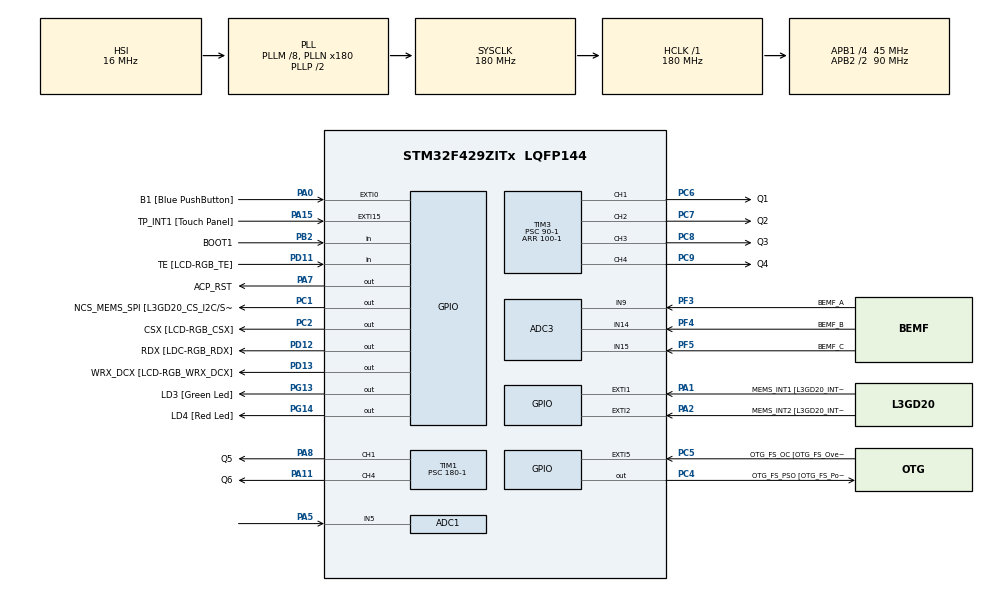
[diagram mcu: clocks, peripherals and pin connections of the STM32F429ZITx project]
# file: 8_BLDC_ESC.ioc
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ADC1.Channel-0\#ChannelRegularConversion=ADC_CHANNEL_5
ADC1.ContinuousConvMode=ENABLE
ADC1.DMAContinuousRequests=ENABLE
ADC1.EOCSelection=ADC_EOC_SEQ_CONV
ADC1.NbrOfConversionFlag=1
ADC1.Rank-0\#ChannelRegularConversion=1
ADC1.SamplingTime-0\#ChannelRegularConversion=ADC_SAMPLETIME_480CYCLES
ADC1.ScanConvMode=DISABLE
ADC1.master=1
ADC3.Channel-0\#ChannelRegularConversion=ADC_CHANNEL_9
ADC3.Channel-1\#ChannelRegularConversion=ADC_CHANNEL_14
ADC3.Channel-2\#ChannelRegularConversion=ADC_CHANNEL_15
ADC3.ContinuousConvMode=ENABLE
ADC3.DMAContinuousRequests=ENABLE
ADC3.EOCSelection=ADC_EOC_SEQ_CONV
ADC3.NbrOfConversion=3
ADC3.NbrOfConversionFlag=1
ADC3.Rank-0\#ChannelRegularConversion=1
ADC3.Rank-1\#ChannelRegularConversion=2
ADC3.Rank-2\#ChannelRegularConversion=3
ADC3.SamplingTime-0\#ChannelRegularConversion=ADC_SAMPLETIME_480CYCLES
ADC3.SamplingTime-1\#ChannelRegularConversion=ADC_SAMPLETIME_480CYCLES
ADC3.SamplingTime-2\#ChannelRegularConversion=ADC_SAMPLETIME_480CYCLES
ADC3.ScanConvMode=ENABLE
Dma.ADC1.0.Direction=DMA_PERIPH_TO_MEMORY
Dma.ADC1.0.FIFOMode=DMA_FIFOMODE_DISABLE
Dma.ADC1.0.Instance=DMA2_Stream0
Dma.ADC1.0.MemDataAlignment=DMA_MDATAALIGN_WORD
Dma.ADC1.0.MemInc=DMA_MINC_ENABLE
Dma.ADC1.0.Mode=DMA_CIRCULAR
Dma.ADC1.0.PeriphDataAlignment=DMA_PDATAALIGN_WORD
Dma.ADC1.0.PeriphInc=DMA_PINC_DISABLE
Dma.ADC1.0.Priority=DMA_PRIORITY_LOW
Dma.ADC3.1.Direction=DMA_PERIPH_TO_MEMORY
Dma.ADC3.1.FIFOMode=DMA_FIFOMODE_DISABLE
Dma.ADC3.1.Instance=DMA2_Stream1
Dma.ADC3.1.MemDataAlignment=DMA_MDATAALIGN_WORD
Dma.ADC3.1.MemInc=DMA_MINC_ENABLE
Dma.ADC3.1.Mode=DMA_CIRCULAR
Dma.ADC3.1.PeriphDataAlignment=DMA_PDATAALIGN_WORD
Dma.ADC3.1.PeriphInc=DMA_PINC_DISABLE
Dma.ADC3.1.Priority=DMA_PRIORITY_LOW
Dma.Request0=ADC1
Dma.Request1=ADC3
Mcu.Family=STM32F4
Mcu.Name=STM32F429ZITx
Mcu.Package=LQFP144
NVIC.ADC_IRQn=true\:0\:0\:false\:false\:true\:true\:true
NVIC.DMA2_Stream0_IRQn=true\:0\:0\:false\:false\:true\:false\:true
NVIC.DMA2_Stream1_IRQn=true\:0\:0\:false\:false\:true\:false\:true
NVIC.PriorityGroup=NVIC_PRIORITYGROUP_0
NVIC.TIM2_IRQn=true\:0\:0\:false\:false\:true\:true\:true
PA0/WKUP.GPIO_Label=B1 [Blue PushButton]
PA0/WKUP.GPIO_ModeDefaultEXTI=GPIO_MODE_EVT_RISING
PA0/WKUP.GPIO_PuPd=GPIO_NOPULL
PA0/WKUP.Signal=GPXTI0
PA1.GPIO_Label=MEMS_INT1 [L3GD20_INT1]
PA1.GPIO_ModeDefaultEXTI=GPIO_MODE_EVT_RISING
PA1.GPIO_PuPd=GPIO_NOPULL
PA1.Signal=GPXTI1
PA10.GPIO_Label=STLINK_TX [STM32F103CBT6_PA2]
PA10.Signal=USART1_RX
PA11.GPIO_Label=Q6
PA11.GPIO_Speed=GPIO_SPEED_FREQ_HIGH
PA11.Signal=S_TIM1_CH4
PA12.GPIO_Label=R5
PA12.GPIO_Mode=GPIO_MODE_AF_PP
PA12.GPIO_PuPd=GPIO_NOPULL
PA12.GPIO_Speed=GPIO_SPEED_FREQ_LOW
PA12.Signal=LTDC_R5
PA13.GPIO_Label=SWDIO
PA13.Signal=SYS_JTMS-SWDIO
PA14.GPIO_Label=SWCLK
PA14.Signal=SYS_JTCK-SWCLK
PA15.GPIO_Label=TP_INT1 [Touch Panel]
PA15.GPIO_ModeDefaultEXTI=GPIO_MODE_EVT_RISING
PA15.GPIO_PuPd=GPIO_NOPULL
PA15.Signal=GPXTI15
PA2.GPIO_Label=MEMS_INT2 [L3GD20_INT2]
PA2.GPIO_ModeDefaultEXTI=GPIO_MODE_EVT_RISING
PA2.GPIO_PuPd=GPIO_NOPULL
PA2.Signal=GPXTI2
PA3.GPIO_Label=B5
PA3.GPIO_Mode=GPIO_MODE_AF_PP
PA3.GPIO_PuPd=GPIO_NOPULL
PA3.GPIO_Speed=GPIO_SPEED_FREQ_LOW
PA3.Signal=LTDC_B5
PA4.GPIO_Label=VSYNC
PA4.GPIO_Mode=GPIO_MODE_AF_PP
PA4.GPIO_PuPd=GPIO_NOPULL
PA4.GPIO_Speed=GPIO_SPEED_FREQ_LOW
PA4.Signal=LTDC_VSYNC
PA5.Signal=ADCx_IN5
PA6.GPIO_Label=G2
PA6.GPIO_Mode=GPIO_MODE_AF_PP
PA6.GPIO_PuPd=GPIO_NOPULL
PA6.GPIO_Speed=GPIO_SPEED_FREQ_LOW
PA6.Signal=LTDC_G2
PA7.GPIO_Label=ACP_RST
PA7.GPIO_Mode=GPIO_MODE_OUTPUT_PP
PA7.GPIO_PuPd=GPIO_NOPULL
PA7.GPIO_Speed=GPIO_SPEED_FREQ_LOW
PA7.Signal=GPIO_Output
PA8.GPIO_Label=Q5
PA8.GPIO_Speed=GPIO_SPEED_FREQ_HIGH
PA8.Signal=S_TIM1_CH1
PA9.GPIO_Label=STLINK_RX [STM32F103CBT6_PA3]
PA9.Signal=USART1_TX
PB0.GPIO_Label=R3
PB0.GPIO_Mode=GPIO_MODE_AF_PP
PB0.GPIO_PuPd=GPIO_NOPULL
PB0.GPIO_Speed=GPIO_SPEED_FREQ_LOW
PB0.Signal=LTDC_R3
PB1.GPIO_Label=R6
PB1.GPIO_Mode=GPIO_MODE_AF_PP
PB1.GPIO_PuPd=GPIO_NOPULL
PB1.GPIO_Speed=GPIO_SPEED_FREQ_LOW
PB1.Signal=LTDC_R6
PB10.GPIO_Label=G4
PB10.GPIO_Mode=GPIO_MODE_AF_PP
PB10.GPIO_PuPd=GPIO_NOPULL
PB10.GPIO_Speed=GPIO_SPEED_FREQ_LOW
PB10.Signal=LTDC_G4
PB11.GPIO_Label=G5
PB11.GPIO_Mode=GPIO_MODE_AF_PP
PB11.GPIO_PuPd=GPIO_NOPULL
PB11.GPIO_Speed=GPIO_SPEED_FREQ_LOW
PB11.Signal=LTDC_G5
PB12.GPIO_Label=OTG_HS_ID
PB12.GPIO_Mode=GPIO_MODE_AF_PP
PB12.GPIO_PuPd=GPIO_NOPULL
PB12.GPIO_Speed=GPIO_SPEED_FREQ_LOW
PB12.Signal=USB_OTG_HS_ID
PB14.GPIO_Label=OTG_HS_DM
PB14.GPIO_Mode=GPIO_MODE_AF_PP
PB14.GPIO_PuPd=GPIO_NOPULL
PB14.GPIO_Speed=GPIO_SPEED_FREQ_LOW
PB14.Signal=USB_OTG_HS_DM
PB15.GPIO_Label=OTG_HS_DP
PB15.GPIO_Mode=GPIO_MODE_AF_PP
PB15.GPIO_PuPd=GPIO_NOPULL
PB15.GPIO_Speed=GPIO_SPEED_FREQ_LOW
PB15.Signal=USB_OTG_HS_DP
PB2/BOOT1.GPIO_Label=BOOT1
PB2/BOOT1.GPIO_Mode=GPIO_MODE_INPUT
PB2/BOOT1.GPIO_PuPd=GPIO_NOPULL
PB2/BOOT1.Signal=GPIO_Input
PB5.GPIO_Label=SDCKE1
PB5.GPIO_Mode=GPIO_MODE_AF_PP
PB5.GPIO_PuPd=GPIO_NOPULL
PB5.GPIO_Speed=GPIO_SPEED_FREQ_VERY_HIGH
PB5.Signal=FMC_SDCKE1
PB6.GPIO_Label=SDNE1 [SDRAM_CS]
PB6.GPIO_Mode=GPIO_MODE_AF_PP
PB6.GPIO_PuPd=GPIO_NOPULL
PB6.GPIO_Speed=GPIO_SPEED_FREQ_VERY_HIGH
PB6.Signal=FMC_SDNE1
PB8.GPIO_Label=B6
PB8.GPIO_Mode=GPIO_MODE_AF_PP
PB8.GPIO_PuPd=GPIO_NOPULL
PB8.GPIO_Speed=GPIO_SPEED_FREQ_LOW
PB8.Signal=LTDC_B6
PB9.GPIO_Label=B7
PB9.GPIO_Mode=GPIO_MODE_AF_PP
PB9.GPIO_PuPd=GPIO_NOPULL
PB9.GPIO_Speed=GPIO_SPEED_FREQ_LOW
PB9.Signal=LTDC_B7
PC0.GPIO_Label=SDNWE
PC0.GPIO_Mode=GPIO_MODE_AF_PP
PC0.GPIO_PuPd=GPIO_NOPULL
PC0.GPIO_Speed=GPIO_SPEED_FREQ_VERY_HIGH
PC0.Signal=FMC_SDNWE
PC1.GPIO_Label=NCS_MEMS_SPI [L3GD20_CS_I2C/SPI]
PC1.GPIO_Mode=GPIO_MODE_OUTPUT_PP
PC1.GPIO_PuPd=GPIO_NOPULL
PC1.GPIO_Speed=GPIO_SPEED_FREQ_LOW
PC1.Signal=GPIO_Output
PC10.GPIO_Label=R2
PC10.GPIO_Mode=GPIO_MODE_AF_PP
PC10.GPIO_PuPd=GPIO_NOPULL
PC10.GPIO_Speed=GPIO_SPEED_FREQ_LOW
PC10.Signal=LTDC_R2
PC14/OSC32_IN.GPIO_Label=PC14-OSC32_IN
PC14/OSC32_IN.Signal=RCC_OSC32_IN
PC15/OSC32_OUT.GPIO_Label=PC15-OSC32_OUT
PC15/OSC32_OUT.Signal=RCC_OSC32_OUT
PC2.GPIO_Label=CSX [LCD-RGB_CSX]
PC2.GPIO_Mode=GPIO_MODE_OUTPUT_PP
PC2.GPIO_PuPd=GPIO_NOPULL
PC2.GPIO_Speed=GPIO_SPEED_FREQ_LOW
PC2.Signal=GPIO_Output
PC4.GPIO_Label=OTG_FS_PSO [OTG_FS_PowerSwitchOn]
PC4.GPIO_Mode=GPIO_MODE_OUTPUT_PP
PC4.GPIO_PuPd=GPIO_NOPULL
PC4.GPIO_Speed=GPIO_SPEED_FREQ_LOW
PC4.Signal=GPIO_Output
PC5.GPIO_Label=OTG_FS_OC [OTG_FS_OverCurrent]
PC5.GPIO_ModeDefaultEXTI=GPIO_MODE_EVT_RISING
PC5.Signal=GPXTI5
PC6.GPIO_Label=Q1
PC6.GPIO_Speed=GPIO_SPEED_FREQ_HIGH
PC6.Signal=S_TIM3_CH1
PC7.GPIO_Label=Q2
PC7.GPIO_Speed=GPIO_SPEED_FREQ_HIGH
PC7.Signal=S_TIM3_CH2
PC8.GPIO_Label=Q3
PC8.GPIO_Speed=GPIO_SPEED_FREQ_HIGH
PC8.Signal=S_TIM3_CH3
PC9.GPIO_Label=Q4
PC9.GPIO_Speed=GPIO_SPEED_FREQ_HIGH
PC9.Signal=S_TIM3_CH4
PD0.GPIO_Label=D2
PD0.GPIO_Mode=GPIO_MODE_AF_PP
PD0.GPIO_PuPd=GPIO_NOPULL
PD0.GPIO_Speed=GPIO_SPEED_FREQ_VERY_HIGH
PD0.Signal=FMC_D2_DA2
PD1.GPIO_Label=D3
PD1.GPIO_Mode=GPIO_MODE_AF_PP
PD1.GPIO_PuPd=GPIO_NOPULL
PD1.GPIO_Speed=GPIO_SPEED_FREQ_VERY_HIGH
PD1.Signal=FMC_D3_DA3
PD10.GPIO_Label=D15
PD10.GPIO_Mode=GPIO_MODE_AF_PP
PD10.GPIO_PuPd=GPIO_NOPULL
PD10.GPIO_Speed=GPIO_SPEED_FREQ_VERY_HIGH
PD10.Signal=FMC_D15_DA15
PD11.GPIO_Label=TE [LCD-RGB_TE]
PD11.GPIO_Mode=GPIO_MODE_INPUT
PD11.GPIO_PuPd=GPIO_NOPULL
PD11.Signal=GPIO_Input
PD12.GPIO_Label=RDX [LDC-RGB_RDX]
PD12.GPIO_Mode=GPIO_MODE_OUTPUT_PP
PD12.GPIO_PuPd=GPIO_NOPULL
PD12.GPIO_Speed=GPIO_SPEED_FREQ_LOW
PD12.Signal=GPIO_Output
PD13.GPIO_Label=WRX_DCX [LCD-RGB_WRX_DCX]
PD13.GPIO_Mode=GPIO_MODE_OUTPUT_PP
PD13.GPIO_PuPd=GPIO_NOPULL
PD13.GPIO_Speed=GPIO_SPEED_FREQ_LOW
PD13.Signal=GPIO_Output
PD14.GPIO_Label=D0
PD14.GPIO_Mode=GPIO_MODE_AF_PP
PD14.GPIO_PuPd=GPIO_NOPULL
PD14.GPIO_Speed=GPIO_SPEED_FREQ_VERY_HIGH
PD14.Signal=FMC_D0_DA0
PD15.GPIO_Label=D1
PD15.GPIO_Mode=GPIO_MODE_AF_PP
PD15.GPIO_PuPd=GPIO_NOPULL
PD15.GPIO_Speed=GPIO_SPEED_FREQ_VERY_HIGH
PD15.Signal=FMC_D1_DA1
PD3.GPIO_Label=G7
PD3.GPIO_Mode=GPIO_MODE_AF_PP
PD3.GPIO_PuPd=GPIO_NOPULL
PD3.GPIO_Speed=GPIO_SPEED_FREQ_LOW
PD3.Signal=LTDC_G7
PD6.GPIO_Label=B2
PD6.GPIO_Mode=GPIO_MODE_AF_PP
PD6.GPIO_PuPd=GPIO_NOPULL
PD6.GPIO_Speed=GPIO_SPEED_FREQ_LOW
PD6.Signal=LTDC_B2
PD8.GPIO_Label=D13
PD8.GPIO_Mode=GPIO_MODE_AF_PP
PD8.GPIO_PuPd=GPIO_NOPULL
PD8.GPIO_Speed=GPIO_SPEED_FREQ_VERY_HIGH
PD8.Signal=FMC_D13_DA13
PD9.GPIO_Label=D14
PD9.GPIO_Mode=GPIO_MODE_AF_PP
PD9.GPIO_PuPd=GPIO_NOPULL
PD9.GPIO_Speed=GPIO_SPEED_FREQ_VERY_HIGH
PD9.Signal=FMC_D14_DA14
PE0.GPIO_Label=NBL0 [SDRAM_LDQM]
PE0.GPIO_Mode=GPIO_MODE_AF_PP
PE0.GPIO_PuPd=GPIO_NOPULL
PE0.GPIO_Speed=GPIO_SPEED_FREQ_VERY_HIGH
PE0.Signal=FMC_NBL0
PE1.GPIO_Label=NBL1 [SDRAM_UDQM]
PE1.GPIO_Mode=GPIO_MODE_AF_PP
PE1.GPIO_PuPd=GPIO_NOPULL
PE1.GPIO_Speed=GPIO_SPEED_FREQ_VERY_HIGH
PE1.Signal=FMC_NBL1
PE10.GPIO_Label=D7
PE10.GPIO_Mode=GPIO_MODE_AF_PP
PE10.GPIO_PuPd=GPIO_NOPULL
PE10.GPIO_Speed=GPIO_SPEED_FREQ_VERY_HIGH
PE10.Signal=FMC_D7_DA7
PE11.GPIO_Label=D8
PE11.GPIO_Mode=GPIO_MODE_AF_PP
PE11.GPIO_PuPd=GPIO_NOPULL
PE11.GPIO_Speed=GPIO_SPEED_FREQ_VERY_HIGH
PE11.Signal=FMC_D8_DA8
PE12.GPIO_Label=D9
PE12.GPIO_Mode=GPIO_MODE_AF_PP
PE12.GPIO_PuPd=GPIO_NOPULL
PE12.GPIO_Speed=GPIO_SPEED_FREQ_VERY_HIGH
PE12.Signal=FMC_D9_DA9
PE13.GPIO_Label=D10
PE13.GPIO_Mode=GPIO_MODE_AF_PP
PE13.GPIO_PuPd=GPIO_NOPULL
PE13.GPIO_Speed=GPIO_SPEED_FREQ_VERY_HIGH
PE13.Signal=FMC_D10_DA10
PE14.GPIO_Label=D11
PE14.GPIO_Mode=GPIO_MODE_AF_PP
PE14.GPIO_PuPd=GPIO_NOPULL
PE14.GPIO_Speed=GPIO_SPEED_FREQ_VERY_HIGH
PE14.Signal=FMC_D11_DA11
PE15.GPIO_Label=D12
PE15.GPIO_Mode=GPIO_MODE_AF_PP
PE15.GPIO_PuPd=GPIO_NOPULL
PE15.GPIO_Speed=GPIO_SPEED_FREQ_VERY_HIGH
PE15.Signal=FMC_D12_DA12
PE7.GPIO_Label=D4
PE7.GPIO_Mode=GPIO_MODE_AF_PP
PE7.GPIO_PuPd=GPIO_NOPULL
PE7.GPIO_Speed=GPIO_SPEED_FREQ_VERY_HIGH
PE7.Signal=FMC_D4_DA4
PE9.GPIO_Label=D6
PE9.GPIO_Mode=GPIO_MODE_AF_PP
PE9.GPIO_PuPd=GPIO_NOPULL
PE9.GPIO_Speed=GPIO_SPEED_FREQ_VERY_HIGH
PE9.Signal=FMC_D6_DA6
PF0.GPIO_Label=A0
PF0.GPIO_Mode=GPIO_MODE_AF_PP
PF0.GPIO_PuPd=GPIO_NOPULL
PF0.GPIO_Speed=GPIO_SPEED_FREQ_VERY_HIGH
PF0.Signal=FMC_A0
PF1.GPIO_Label=A1
PF1.GPIO_Mode=GPIO_MODE_AF_PP
PF1.GPIO_PuPd=GPIO_NOPULL
PF1.GPIO_Speed=GPIO_SPEED_FREQ_VERY_HIGH
PF1.Signal=FMC_A1
PF10.GPIO_Label=ENABLE [LCD-RGB_ENABLE]
PF10.GPIO_Mode=GPIO_MODE_AF_PP
PF10.GPIO_PuPd=GPIO_NOPULL
PF10.GPIO_Speed=GPIO_SPEED_FREQ_LOW
PF10.Signal=LTDC_DE
PF11.GPIO_Label=SDNRAS
PF11.GPIO_Mode=GPIO_MODE_AF_PP
PF11.GPIO_PuPd=GPIO_NOPULL
PF11.GPIO_Speed=GPIO_SPEED_FREQ_VERY_HIGH
PF11.Signal=FMC_SDNRAS
PF12.GPIO_Label=A6
PF12.GPIO_Mode=GPIO_MODE_AF_PP
PF12.GPIO_PuPd=GPIO_NOPULL
PF12.GPIO_Speed=GPIO_SPEED_FREQ_VERY_HIGH
PF12.Signal=FMC_A6
PF13.GPIO_Label=A7
PF13.GPIO_Mode=GPIO_MODE_AF_PP
PF13.GPIO_PuPd=GPIO_NOPULL
PF13.GPIO_Speed=GPIO_SPEED_FREQ_VERY_HIGH
PF13.Signal=FMC_A7
PF14.GPIO_Label=A8
PF14.GPIO_Mode=GPIO_MODE_AF_PP
PF14.GPIO_PuPd=GPIO_NOPULL
PF14.GPIO_Speed=GPIO_SPEED_FREQ_VERY_HIGH
PF14.Signal=FMC_A8
PF15.GPIO_Label=A9
PF15.GPIO_Mode=GPIO_MODE_AF_PP
PF15.GPIO_PuPd=GPIO_NOPULL
PF15.GPIO_Speed=GPIO_SPEED_FREQ_VERY_HIGH
PF15.Signal=FMC_A9
PF2.GPIO_Label=A2
PF2.GPIO_Mode=GPIO_MODE_AF_PP
PF2.GPIO_PuPd=GPIO_NOPULL
PF2.GPIO_Speed=GPIO_SPEED_FREQ_VERY_HIGH
PF2.Signal=FMC_A2
PF3.GPIO_Label=BEMF_A
PF3.Mode=IN9
PF3.Signal=ADC3_IN9
PF4.GPIO_Label=BEMF_B
PF4.Mode=IN14
PF4.Signal=ADC3_IN14
PF5.GPIO_Label=BEMF_C
PF5.Mode=IN15
PF5.Signal=ADC3_IN15
PF7.GPIO_Label=SPI5_SCK [L3GD20_SCL/SPC]
PF7.GPIO_Mode=GPIO_MODE_AF_PP
PF7.GPIO_PuPd=GPIO_NOPULL
PF7.GPIO_Speed=GPIO_SPEED_FREQ_LOW
PF7.Signal=SPI5_SCK
PF8.GPIO_Label=SPI5_MISO [L3GD20_SDO]
PF8.GPIO_Mode=GPIO_MODE_AF_PP
PF8.GPIO_PuPd=GPIO_NOPULL
PF8.GPIO_Speed=GPIO_SPEED_FREQ_LOW
PF8.Signal=SPI5_MISO
PF9.GPIO_Label=SPI5_MOSI [L3GD20_SDA/SDI/SDO]
PF9.GPIO_Mode=GPIO_MODE_AF_PP
PF9.GPIO_PuPd=GPIO_NOPULL
PF9.GPIO_Speed=GPIO_SPEED_FREQ_LOW
PF9.Signal=SPI5_MOSI
PG0.GPIO_Label=A10
PG0.GPIO_Mode=GPIO_MODE_AF_PP
PG0.GPIO_PuPd=GPIO_NOPULL
PG0.GPIO_Speed=GPIO_SPEED_FREQ_VERY_HIGH
PG0.Signal=FMC_A10
PG1.GPIO_Label=A11
PG1.GPIO_Mode=GPIO_MODE_AF_PP
PG1.GPIO_PuPd=GPIO_NOPULL
PG1.GPIO_Speed=GPIO_SPEED_FREQ_VERY_HIGH
PG1.Signal=FMC_A11
PG10.GPIO_Label=G3
PG10.GPIO_Mode=GPIO_MODE_AF_PP
PG10.GPIO_PuPd=GPIO_NOPULL
PG10.GPIO_Speed=GPIO_SPEED_FREQ_LOW
PG10.Signal=LTDC_G3
PG11.GPIO_Label=B3
PG11.GPIO_Mode=GPIO_MODE_AF_PP
PG11.GPIO_PuPd=GPIO_NOPULL
PG11.GPIO_Speed=GPIO_SPEED_FREQ_LOW
PG11.Signal=LTDC_B3
PG12.GPIO_Label=B4
PG12.GPIO_Mode=GPIO_MODE_AF_PP
PG12.GPIO_PuPd=GPIO_NOPULL
PG12.GPIO_Speed=GPIO_SPEED_FREQ_LOW
PG12.Signal=LTDC_B4
PG13.GPIO_Label=LD3 [Green Led]
PG13.GPIO_Mode=GPIO_MODE_OUTPUT_PP
PG13.GPIO_PuPd=GPIO_NOPULL
PG13.GPIO_Speed=GPIO_SPEED_FREQ_LOW
PG13.Signal=GPIO_Output
PG14.GPIO_Label=LD4 [Red Led]
PG14.GPIO_Mode=GPIO_MODE_OUTPUT_PP
PG14.GPIO_PuPd=GPIO_NOPULL
PG14.GPIO_Speed=GPIO_SPEED_FREQ_LOW
PG14.Signal=GPIO_Output
PG15.GPIO_Label=SDNCAS
PG15.GPIO_Mode=GPIO_MODE_AF_PP
PG15.GPIO_PuPd=GPIO_NOPULL
PG15.GPIO_Speed=GPIO_SPEED_FREQ_VERY_HIGH
PG15.Signal=FMC_SDNCAS
PG4.GPIO_Label=BA0
PG4.GPIO_Mode=GPIO_MODE_AF_PP
PG4.GPIO_PuPd=GPIO_NOPULL
PG4.GPIO_Speed=GPIO_SPEED_FREQ_VERY_HIGH
PG4.Signal=FMC_A14_BA0
PG5.GPIO_Label=BA1
PG5.GPIO_Mode=GPIO_MODE_AF_PP
PG5.GPIO_PuPd=GPIO_NOPULL
PG5.GPIO_Speed=GPIO_SPEED_FREQ_VERY_HIGH
PG5.Signal=FMC_A15_BA1
PG6.GPIO_Label=R7
PG6.GPIO_Mode=GPIO_MODE_AF_PP
PG6.GPIO_PuPd=GPIO_NOPULL
PG6.GPIO_Speed=GPIO_SPEED_FREQ_LOW
PG6.Signal=LTDC_R7
PG7.GPIO_Label=DOTCLK [LCT-RGB_DOTCLK]
PG7.GPIO_Mode=GPIO_MODE_AF_PP
PG7.GPIO_PuPd=GPIO_NOPULL
PG7.GPIO_Speed=GPIO_SPEED_FREQ_LOW
PG7.Signal=LTDC_CLK
PG8.GPIO_Label=SDCLK
PG8.GPIO_Mode=GPIO_MODE_AF_PP
PG8.GPIO_PuPd=GPIO_NOPULL
PG8.GPIO_Speed=GPIO_SPEED_FREQ_VERY_HIGH
PG8.Signal=FMC_SDCLK
PH0/OSC_IN.GPIO_Label=PH0-OSC_IN
PH0/OSC_IN.Signal=RCC_OSC_IN
PH1/OSC_OUT.GPIO_Label=PH1-OSC_OUT
PH1/OSC_OUT.Signal=RCC_OSC_OUT
ProjectManager.HeapSize=0x200
ProjectManager.StackSize=0x400
ProjectManager.TargetToolchain=STM32CubeIDE
RCC.48MHZClocksFreq_Value=51428571.428571425
RCC.AHBFreq_Value=180000000
RCC.APB1CLKDivider=RCC_HCLK_DIV4
RCC.APB1Freq_Value=45000000
RCC.APB1TimFreq_Value=90000000
RCC.APB2CLKDivider=RCC_HCLK_DIV2
RCC.APB2Freq_Value=90000000
RCC.APB2TimFreq_Value=180000000
RCC.CortexFreq_Value=180000000
RCC.HCLKFreq_Value=180000000
RCC.HSE_VALUE=8000000
RCC.HSI_VALUE=16000000
RCC.LSE_VALUE=32768
RCC.PLLM=8
RCC.PLLN=180
RCC.PLLQ=7
RCC.SYSCLKFreq_VALUE=180000000
RCC.SYSCLKSource=RCC_SYSCLKSOURCE_PLLCLK
RCC.VCOOutputFreq_Value=360000000
SH.ADCx_IN5.0=ADC1_IN5,IN5
SH.FMC_A0.0=FMC_A0
SH.FMC_A1.0=FMC_A1
SH.FMC_A10.0=FMC_A10
SH.FMC_A11.0=FMC_A11
SH.FMC_A14_BA0.0=FMC_BA0
SH.FMC_A15_BA1.0=FMC_BA1
SH.FMC_A2.0=FMC_A2
SH.FMC_A6.0=FMC_A6
SH.FMC_A7.0=FMC_A7
SH.FMC_A8.0=FMC_A8
SH.FMC_A9.0=FMC_A9
SH.FMC_D0_DA0.0=FMC_D0
SH.FMC_D10_DA10.0=FMC_D10
SH.FMC_D11_DA11.0=FMC_D11
SH.FMC_D12_DA12.0=FMC_D12
SH.FMC_D13_DA13.0=FMC_D13
SH.FMC_D14_DA14.0=FMC_D14
SH.FMC_D15_DA15.0=FMC_D15
SH.FMC_D1_DA1.0=FMC_D1
SH.FMC_D2_DA2.0=FMC_D2
SH.FMC_D3_DA3.0=FMC_D3
SH.FMC_D4_DA4.0=FMC_D4
SH.FMC_D6_DA6.0=FMC_D6
SH.FMC_D7_DA7.0=FMC_D7
SH.FMC_D8_DA8.0=FMC_D8
SH.FMC_D9_DA9.0=FMC_D9
SH.FMC_NBL0.0=FMC_NBL0
SH.FMC_NBL1.0=FMC_NBL1
SH.FMC_SDCLK.0=FMC_SDCLK
SH.FMC_SDNCAS.0=FMC_SDNCAS
SH.FMC_SDNRAS.0=FMC_SDNRAS
SH.FMC_SDNWE.0=FMC_SDNWE
SH.S_TIM1_CH1.0=TIM1_CH1,PWM Generation1 CH1
SH.S_TIM1_CH4.0=TIM1_CH4,PWM Generation4 CH4
SH.S_TIM3_CH1.0=TIM3_CH1,PWM Generation1 CH1
SH.S_TIM3_CH2.0=TIM3_CH2,PWM Generation2 CH2
SH.S_TIM3_CH3.0=TIM3_CH3,PWM Generation3 CH3
SH.S_TIM3_CH4.0=TIM3_CH4,PWM Generation4 CH4
TIM1.Channel-PWM\ Generation1\ CH1=TIM_CHANNEL_1
TIM1.Channel-PWM\ Generation4\ CH4=TIM_CHANNEL_4
TIM1.Period=100-1
TIM1.Prescaler=180-1
TIM2.Period=100-1
TIM2.Prescaler=90-1
TIM3.Channel-PWM\ Generation1\ CH1=TIM_CHANNEL_1
TIM3.Channel-PWM\ Generation2\ CH2=TIM_CHANNEL_2
TIM3.Channel-PWM\ Generation3\ CH3=TIM_CHANNEL_3
TIM3.Channel-PWM\ Generation4\ CH4=TIM_CHANNEL_4
TIM3.Period=100-1
TIM3.Prescaler=90-1
VP_TIM2_VS_ClockSourceINT.Mode=Internal
board=STM32F429I-DISC1

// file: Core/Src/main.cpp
/* USER CODE BEGIN Header */
/**
  ******************************************************************************
  * @file           : main.c
  * @brief          : Main program body
  ******************************************************************************
  * @attention
  *
  * <h2><center>&copy; Copyright (c) 2020 STMicroelectronics.
  * All rights reserved.</center></h2>
  *
  * This software component is licensed by ST under BSD 3-Clause license,
  * the "License"; You may not use this file except in compliance with the
  * License. You may obtain a copy of the License at:
  *                        opensource.org/licenses/BSD-3-Clause
  *
  ******************************************************************************
  */
/* USER CODE END Header */
#include "main.h"

/* USER CODE BEGIN Includes */
#include "user_app.hpp"
/* USER CODE END Includes */

/* USER CODE BEGIN PD */
#define ADC1_BUF_LEN 1
#define ADC3_BUF_LEN 3
/* USER CODE END PD */

ADC_HandleTypeDef hadc1;
ADC_HandleTypeDef hadc3;
DMA_HandleTypeDef hdma_adc1;
DMA_HandleTypeDef hdma_adc3;

TIM_HandleTypeDef htim1;
TIM_HandleTypeDef htim2;
TIM_HandleTypeDef htim3;

/* USER CODE BEGIN PV */
outputs outputs_obj;
uint32_t raw = 0;
uint32_t duty = 0;
uint32_t pot_pos_buf[ADC1_BUF_LEN];
uint32_t bemf_buf[ADC3_BUF_LEN];

/* USER CODE END PV */

void SystemClock_Config(void);
static void MX_GPIO_Init(void);
static void MX_DMA_Init(void);
static void MX_ADC1_Init(void);
static void MX_ADC3_Init(void);
static void MX_TIM2_Init(void);
static void MX_TIM1_Init(void);
static void MX_TIM3_Init(void);

int main(void)
{

  /* MCU Configuration--------------------------------------------------------*/

  /* Reset of all peripherals, Initializes the Flash interface and the Systick. */
  HAL_Init();

  /* Configure the system clock */
  SystemClock_Config();

  /* Initialize all configured peripherals */
  MX_GPIO_Init();
  MX_DMA_Init();
  MX_ADC1_Init();
  MX_ADC3_Init();
  MX_TIM2_Init();
  MX_TIM1_Init();
  MX_TIM3_Init();
  /* USER CODE BEGIN 2 */
  HAL_TIM_Base_Start_IT(&htim2);
  HAL_ADC_Start_DMA(&hadc1, pot_pos_buf, ADC1_BUF_LEN);
  HAL_ADC_Start_DMA(&hadc3, bemf_buf, ADC3_BUF_LEN);
  HAL_TIM_PWM_Start (&htim1, TIM_CHANNEL_1);
  HAL_TIM_PWM_Start (&htim1, TIM_CHANNEL_4);
  HAL_TIM_PWM_Start (&htim3, TIM_CHANNEL_1);
  HAL_TIM_PWM_Start (&htim3, TIM_CHANNEL_2);
  HAL_TIM_PWM_Start (&htim3, TIM_CHANNEL_3);
  HAL_TIM_PWM_Start (&htim3, TIM_CHANNEL_4);
  htim1.Instance->CCR1=0;
  htim1.Instance->CCR4=0;
  htim3.Instance->CCR1=0;
  htim3.Instance->CCR2=0;
  htim3.Instance->CCR3=0;
  htim3.Instance->CCR4=0;

  /* USER CODE END 2 */

  /* Infinite loop */
  while (1)
  {

  }
}

void SystemClock_Config(void)
{
  RCC_OscInitTypeDef RCC_OscInitStruct = {0};
  RCC_ClkInitTypeDef RCC_ClkInitStruct = {0};

  /** Configure the main internal regulator output voltage
  */
  __HAL_RCC_PWR_CLK_ENABLE();
  __HAL_PWR_VOLTAGESCALING_CONFIG(PWR_REGULATOR_VOLTAGE_SCALE1);
  /** Initializes the RCC Oscillators according to the specified parameters
  * in the RCC_OscInitTypeDef structure.
  */
  RCC_OscInitStruct.OscillatorType = RCC_OSCILLATORTYPE_HSI;
  RCC_OscInitStruct.HSIState = RCC_HSI_ON;
  RCC_OscInitStruct.HSICalibrationValue = RCC_HSICALIBRATION_DEFAULT;
  RCC_OscInitStruct.PLL.PLLState = RCC_PLL_ON;
  RCC_OscInitStruct.PLL.PLLSource = RCC_PLLSOURCE_HSI;
  RCC_OscInitStruct.PLL.PLLM = 8;
  RCC_OscInitStruct.PLL.PLLN = 180;
  RCC_OscInitStruct.PLL.PLLP = RCC_PLLP_DIV2;
  RCC_OscInitStruct.PLL.PLLQ = 7;
  if (HAL_RCC_OscConfig(&RCC_OscInitStruct) != HAL_OK)
  {
    Error_Handler();
  }
  /** Activate the Over-Drive mode
  */
  if (HAL_PWREx_EnableOverDrive() != HAL_OK)
  {
    Error_Handler();
  }
  /** Initializes the CPU, AHB and APB buses clocks
  */
  RCC_ClkInitStruct.ClockType = RCC_CLOCKTYPE_HCLK|RCC_CLOCKTYPE_SYSCLK
                              |RCC_CLOCKTYPE_PCLK1|RCC_CLOCKTYPE_PCLK2;
  RCC_ClkInitStruct.SYSCLKSource = RCC_SYSCLKSOURCE_PLLCLK;
  RCC_ClkInitStruct.AHBCLKDivider = RCC_SYSCLK_DIV1;
  RCC_ClkInitStruct.APB1CLKDivider = RCC_HCLK_DIV4;
  RCC_ClkInitStruct.APB2CLKDivider = RCC_HCLK_DIV2;

  if (HAL_RCC_ClockConfig(&RCC_ClkInitStruct, FLASH_LATENCY_5) != HAL_OK)
  {
    Error_Handler();
  }
}

static void MX_ADC1_Init(void)
{

  ADC_ChannelConfTypeDef sConfig = {0};

  /** Configure the global features of the ADC (Clock, Resolution, Data Alignment and number of conversion)
  */
  hadc1.Instance = ADC1;
  hadc1.Init.ClockPrescaler = ADC_CLOCK_SYNC_PCLK_DIV4;
  hadc1.Init.Resolution = ADC_RESOLUTION_12B;
  hadc1.Init.ScanConvMode = DISABLE;
  hadc1.Init.ContinuousConvMode = ENABLE;
  hadc1.Init.DiscontinuousConvMode = DISABLE;
  hadc1.Init.ExternalTrigConvEdge = ADC_EXTERNALTRIGCONVEDGE_NONE;
  hadc1.Init.ExternalTrigConv = ADC_SOFTWARE_START;
  hadc1.Init.DataAlign = ADC_DATAALIGN_RIGHT;
  hadc1.Init.NbrOfConversion = 1;
  hadc1.Init.DMAContinuousRequests = ENABLE;
  hadc1.Init.EOCSelection = ADC_EOC_SEQ_CONV;
  if (HAL_ADC_Init(&hadc1) != HAL_OK)
  {
    Error_Handler();
  }
  /** Configure for the selected ADC regular channel its corresponding rank in the sequencer and its sample time.
  */
  sConfig.Channel = ADC_CHANNEL_5;
  sConfig.Rank = 1;
  sConfig.SamplingTime = ADC_SAMPLETIME_480CYCLES;
  if (HAL_ADC_ConfigChannel(&hadc1, &sConfig) != HAL_OK)
  {
    Error_Handler();
  }

}

static void MX_ADC3_Init(void)
{

  ADC_ChannelConfTypeDef sConfig = {0};

  /** Configure the global features of the ADC (Clock, Resolution, Data Alignment and number of conversion)
  */
  hadc3.Instance = ADC3;
  hadc3.Init.ClockPrescaler = ADC_CLOCK_SYNC_PCLK_DIV4;
  hadc3.Init.Resolution = ADC_RESOLUTION_12B;
  hadc3.Init.ScanConvMode = ENABLE;
  hadc3.Init.ContinuousConvMode = ENABLE;
  hadc3.Init.DiscontinuousConvMode = DISABLE;
  hadc3.Init.ExternalTrigConvEdge = ADC_EXTERNALTRIGCONVEDGE_NONE;
  hadc3.Init.ExternalTrigConv = ADC_SOFTWARE_START;
  hadc3.Init.DataAlign = ADC_DATAALIGN_RIGHT;
  hadc3.Init.NbrOfConversion = 3;
  hadc3.Init.DMAContinuousRequests = ENABLE;
  hadc3.Init.EOCSelection = ADC_EOC_SEQ_CONV;
  if (HAL_ADC_Init(&hadc3) != HAL_OK)
  {
    Error_Handler();
  }
  /** Configure for the selected ADC regular channel its corresponding rank in the sequencer and its sample time.
  */
  sConfig.Channel = ADC_CHANNEL_9;
  sConfig.Rank = 1;
  sConfig.SamplingTime = ADC_SAMPLETIME_480CYCLES;
  if (HAL_ADC_ConfigChannel(&hadc3, &sConfig) != HAL_OK)
  {
    Error_Handler();
  }
  /** Configure for the selected ADC regular channel its corresponding rank in the sequencer and its sample time.
  */
  sConfig.Channel = ADC_CHANNEL_14;
  sConfig.Rank = 2;
  if (HAL_ADC_ConfigChannel(&hadc3, &sConfig) != HAL_OK)
  {
    Error_Handler();
  }
  /** Configure for the selected ADC regular channel its corresponding rank in the sequencer and its sample time.
  */
  sConfig.Channel = ADC_CHANNEL_15;
  sConfig.Rank = 3;
  if (HAL_ADC_ConfigChannel(&hadc3, &sConfig) != HAL_OK)
  {
    Error_Handler();
  }

}

static void MX_TIM1_Init(void)
{

  TIM_MasterConfigTypeDef sMasterConfig = {0};
  TIM_OC_InitTypeDef sConfigOC = {0};
  TIM_BreakDeadTimeConfigTypeDef sBreakDeadTimeConfig = {0};

  htim1.Instance = TIM1;
  htim1.Init.Prescaler = 180-1;
  htim1.Init.CounterMode = TIM_COUNTERMODE_UP;
  htim1.Init.Period = 100-1;
  htim1.Init.ClockDivision = TIM_CLOCKDIVISION_DIV1;
  htim1.Init.RepetitionCounter = 0;
  htim1.Init.AutoReloadPreload = TIM_AUTORELOAD_PRELOAD_DISABLE;
  if (HAL_TIM_PWM_Init(&htim1) != HAL_OK)
  {
    Error_Handler();
  }
  sMasterConfig.MasterOutputTrigger = TIM_TRGO_RESET;
  sMasterConfig.MasterSlaveMode = TIM_MASTERSLAVEMODE_DISABLE;
  if (HAL_TIMEx_MasterConfigSynchronization(&htim1, &sMasterConfig) != HAL_OK)
  {
    Error_Handler();
  }
  sConfigOC.OCMode = TIM_OCMODE_PWM1;
  sConfigOC.Pulse = 0;
  sConfigOC.OCPolarity = TIM_OCPOLARITY_HIGH;
  sConfigOC.OCNPolarity = TIM_OCNPOLARITY_HIGH;
  sConfigOC.OCFastMode = TIM_OCFAST_DISABLE;
  sConfigOC.OCIdleState = TIM_OCIDLESTATE_RESET;
  sConfigOC.OCNIdleState = TIM_OCNIDLESTATE_RESET;
  if (HAL_TIM_PWM_ConfigChannel(&htim1, &sConfigOC, TIM_CHANNEL_1) != HAL_OK)
  {
    Error_Handler();
  }
  if (HAL_TIM_PWM_ConfigChannel(&htim1, &sConfigOC, TIM_CHANNEL_4) != HAL_OK)
  {
    Error_Handler();
  }
  sBreakDeadTimeConfig.OffStateRunMode = TIM_OSSR_DISABLE;
  sBreakDeadTimeConfig.OffStateIDLEMode = TIM_OSSI_DISABLE;
  sBreakDeadTimeConfig.LockLevel = TIM_LOCKLEVEL_OFF;
  sBreakDeadTimeConfig.DeadTime = 0;
  sBreakDeadTimeConfig.BreakState = TIM_BREAK_DISABLE;
  sBreakDeadTimeConfig.BreakPolarity = TIM_BREAKPOLARITY_HIGH;
  sBreakDeadTimeConfig.AutomaticOutput = TIM_AUTOMATICOUTPUT_DISABLE;
  if (HAL_TIMEx_ConfigBreakDeadTime(&htim1, &sBreakDeadTimeConfig) != HAL_OK)
  {
    Error_Handler();
  }
  HAL_TIM_MspPostInit(&htim1);

}

static void MX_TIM2_Init(void)
{

  TIM_ClockConfigTypeDef sClockSourceConfig = {0};
  TIM_MasterConfigTypeDef sMasterConfig = {0};

  htim2.Instance = TIM2;
  htim2.Init.Prescaler = 90-1;
  htim2.Init.CounterMode = TIM_COUNTERMODE_UP;
  htim2.Init.Period = 100-1;
  htim2.Init.ClockDivision = TIM_CLOCKDIVISION_DIV1;
  htim2.Init.AutoReloadPreload = TIM_AUTORELOAD_PRELOAD_DISABLE;
  if (HAL_TIM_Base_Init(&htim2) != HAL_OK)
  {
    Error_Handler();
  }
  sClockSourceConfig.ClockSource = TIM_CLOCKSOURCE_INTERNAL;
  if (HAL_TIM_ConfigClockSource(&htim2, &sClockSourceConfig) != HAL_OK)
  {
    Error_Handler();
  }
  sMasterConfig.MasterOutputTrigger = TIM_TRGO_RESET;
  sMasterConfig.MasterSlaveMode = TIM_MASTERSLAVEMODE_DISABLE;
  if (HAL_TIMEx_MasterConfigSynchronization(&htim2, &sMasterConfig) != HAL_OK)
  {
    Error_Handler();
  }

}

static void MX_TIM3_Init(void)
{

  TIM_MasterConfigTypeDef sMasterConfig = {0};
  TIM_OC_InitTypeDef sConfigOC = {0};

  htim3.Instance = TIM3;
  htim3.Init.Prescaler = 90-1;
  htim3.Init.CounterMode = TIM_COUNTERMODE_UP;
  htim3.Init.Period = 100-1;
  htim3.Init.ClockDivision = TIM_CLOCKDIVISION_DIV1;
  htim3.Init.AutoReloadPreload = TIM_AUTORELOAD_PRELOAD_DISABLE;
  if (HAL_TIM_PWM_Init(&htim3) != HAL_OK)
  {
    Error_Handler();
  }
  sMasterConfig.MasterOutputTrigger = TIM_TRGO_RESET;
  sMasterConfig.MasterSlaveMode = TIM_MASTERSLAVEMODE_DISABLE;
  if (HAL_TIMEx_MasterConfigSynchronization(&htim3, &sMasterConfig) != HAL_OK)
  {
    Error_Handler();
  }
  sConfigOC.OCMode = TIM_OCMODE_PWM1;
  sConfigOC.Pulse = 0;
  sConfigOC.OCPolarity = TIM_OCPOLARITY_HIGH;
  sConfigOC.OCFastMode = TIM_OCFAST_DISABLE;
  if (HAL_TIM_PWM_ConfigChannel(&htim3, &sConfigOC, TIM_CHANNEL_1) != HAL_OK)
  {
    Error_Handler();
  }
  if (HAL_TIM_PWM_ConfigChannel(&htim3, &sConfigOC, TIM_CHANNEL_2) != HAL_OK)
  {
    Error_Handler();
  }
  if (HAL_TIM_PWM_ConfigChannel(&htim3, &sConfigOC, TIM_CHANNEL_3) != HAL_OK)
  {
    Error_Handler();
  }
  if (HAL_TIM_PWM_ConfigChannel(&htim3, &sConfigOC, TIM_CHANNEL_4) != HAL_OK)
  {
    Error_Handler();
  }
  HAL_TIM_MspPostInit(&htim3);

}

static void MX_DMA_Init(void)
{

  /* DMA controller clock enable */
  __HAL_RCC_DMA2_CLK_ENABLE();

  /* DMA interrupt init */
  /* DMA2_Stream0_IRQn interrupt configuration */
  HAL_NVIC_SetPriority(DMA2_Stream0_IRQn, 0, 0);
  HAL_NVIC_EnableIRQ(DMA2_Stream0_IRQn);
  /* DMA2_Stream1_IRQn interrupt configuration */
  HAL_NVIC_SetPriority(DMA2_Stream1_IRQn, 0, 0);
  HAL_NVIC_EnableIRQ(DMA2_Stream1_IRQn);

}

static void MX_GPIO_Init(void)
{
  GPIO_InitTypeDef GPIO_InitStruct = {0};

  /* GPIO Ports Clock Enable */
  __HAL_RCC_GPIOC_CLK_ENABLE();
  __HAL_RCC_GPIOF_CLK_ENABLE();
  __HAL_RCC_GPIOH_CLK_ENABLE();
  __HAL_RCC_GPIOA_CLK_ENABLE();
  __HAL_RCC_GPIOB_CLK_ENABLE();
  __HAL_RCC_GPIOG_CLK_ENABLE();
  __HAL_RCC_GPIOE_CLK_ENABLE();
  __HAL_RCC_GPIOD_CLK_ENABLE();

  /*Configure GPIO pin Output Level */
  HAL_GPIO_WritePin(GPIOC, NCS_MEMS_SPI_Pin|CSX_Pin|OTG_FS_PSO_Pin, GPIO_PIN_RESET);

  /*Configure GPIO pin Output Level */
  HAL_GPIO_WritePin(ACP_RST_GPIO_Port, ACP_RST_Pin, GPIO_PIN_RESET);

  /*Configure GPIO pin Output Level */
  HAL_GPIO_WritePin(GPIOD, RDX_Pin|WRX_DCX_Pin, GPIO_PIN_RESET);

  /*Configure GPIO pin Output Level */
  HAL_GPIO_WritePin(GPIOG, LD3_Pin|LD4_Pin, GPIO_PIN_RESET);

  /*Configure GPIO pins : A0_Pin A1_Pin A2_Pin SDNRAS_Pin
                           A6_Pin A7_Pin A8_Pin A9_Pin */
  GPIO_InitStruct.Pin = A0_Pin|A1_Pin|A2_Pin|SDNRAS_Pin
                          |A6_Pin|A7_Pin|A8_Pin|A9_Pin;
  GPIO_InitStruct.Mode = GPIO_MODE_AF_PP;
  GPIO_InitStruct.Pull = GPIO_NOPULL;
  GPIO_InitStruct.Speed = GPIO_SPEED_FREQ_VERY_HIGH;
  GPIO_InitStruct.Alternate = GPIO_AF12_FMC;
  HAL_GPIO_Init(GPIOF, &GPIO_InitStruct);

  /*Configure GPIO pins : SPI5_SCK_Pin SPI5_MISO_Pin SPI5_MOSI_Pin */
  GPIO_InitStruct.Pin = SPI5_SCK_Pin|SPI5_MISO_Pin|SPI5_MOSI_Pin;
  GPIO_InitStruct.Mode = GPIO_MODE_AF_PP;
  GPIO_InitStruct.Pull = GPIO_NOPULL;
  GPIO_InitStruct.Speed = GPIO_SPEED_FREQ_LOW;
  GPIO_InitStruct.Alternate = GPIO_AF5_SPI5;
  HAL_GPIO_Init(GPIOF, &GPIO_InitStruct);

  /*Configure GPIO pin : ENABLE_Pin */
  GPIO_InitStruct.Pin = ENABLE_Pin;
  GPIO_InitStruct.Mode = GPIO_MODE_AF_PP;
  GPIO_InitStruct.Pull = GPIO_NOPULL;
  GPIO_InitStruct.Speed = GPIO_SPEED_FREQ_LOW;
  GPIO_InitStruct.Alternate = GPIO_AF14_LTDC;
  HAL_GPIO_Init(ENABLE_GPIO_Port, &GPIO_InitStruct);

  /*Configure GPIO pin : SDNWE_Pin */
  GPIO_InitStruct.Pin = SDNWE_Pin;
  GPIO_InitStruct.Mode = GPIO_MODE_AF_PP;
  GPIO_InitStruct.Pull = GPIO_NOPULL;
  GPIO_InitStruct.Speed = GPIO_SPEED_FREQ_VERY_HIGH;
  GPIO_InitStruct.Alternate = GPIO_AF12_FMC;
  HAL_GPIO_Init(SDNWE_GPIO_Port, &GPIO_InitStruct);

  /*Configure GPIO pins : NCS_MEMS_SPI_Pin CSX_Pin OTG_FS_PSO_Pin */
  GPIO_InitStruct.Pin = NCS_MEMS_SPI_Pin|CSX_Pin|OTG_FS_PSO_Pin;
  GPIO_InitStruct.Mode = GPIO_MODE_OUTPUT_PP;
  GPIO_InitStruct.Pull = GPIO_NOPULL;
  GPIO_InitStruct.Speed = GPIO_SPEED_FREQ_LOW;
  HAL_GPIO_Init(GPIOC, &GPIO_InitStruct);

  /*Configure GPIO pins : B1_Pin MEMS_INT1_Pin MEMS_INT2_Pin TP_INT1_Pin */
  GPIO_InitStruct.Pin = B1_Pin|MEMS_INT1_Pin|MEMS_INT2_Pin|TP_INT1_Pin;
  GPIO_InitStruct.Mode = GPIO_MODE_EVT_RISING;
  GPIO_InitStruct.Pull = GPIO_NOPULL;
  HAL_GPIO_Init(GPIOA, &GPIO_InitStruct);

  /*Configure GPIO pins : B5_Pin VSYNC_Pin G2_Pin R5_Pin */
  GPIO_InitStruct.Pin = B5_Pin|VSYNC_Pin|G2_Pin|R5_Pin;
  GPIO_InitStruct.Mode = GPIO_MODE_AF_PP;
  GPIO_InitStruct.Pull = GPIO_NOPULL;
  GPIO_InitStruct.Speed = GPIO_SPEED_FREQ_LOW;
  GPIO_InitStruct.Alternate = GPIO_AF14_LTDC;
  HAL_GPIO_Init(GPIOA, &GPIO_InitStruct);

  /*Configure GPIO pin : ACP_RST_Pin */
  GPIO_InitStruct.Pin = ACP_RST_Pin;
  GPIO_InitStruct.Mode = GPIO_MODE_OUTPUT_PP;
  GPIO_InitStruct.Pull = GPIO_NOPULL;
  GPIO_InitStruct.Speed = GPIO_SPEED_FREQ_LOW;
  HAL_GPIO_Init(ACP_RST_GPIO_Port, &GPIO_InitStruct);

  /*Configure GPIO pin : OTG_FS_OC_Pin */
  GPIO_InitStruct.Pin = OTG_FS_OC_Pin;
  GPIO_InitStruct.Mode = GPIO_MODE_EVT_RISING;
  GPIO_InitStruct.Pull = GPIO_NOPULL;
  HAL_GPIO_Init(OTG_FS_OC_GPIO_Port, &GPIO_InitStruct);

  /*Configure GPIO pins : R3_Pin R6_Pin */
  GPIO_InitStruct.Pin = R3_Pin|R6_Pin;
  GPIO_InitStruct.Mode = GPIO_MODE_AF_PP;
  GPIO_InitStruct.Pull = GPIO_NOPULL;
  GPIO_InitStruct.Speed = GPIO_SPEED_FREQ_LOW;
  GPIO_InitStruct.Alternate = GPIO_AF9_LTDC;
  HAL_GPIO_Init(GPIOB, &GPIO_InitStruct);

  /*Configure GPIO pin : BOOT1_Pin */
  GPIO_InitStruct.Pin = BOOT1_Pin;
  GPIO_InitStruct.Mode = GPIO_MODE_INPUT;
  GPIO_InitStruct.Pull = GPIO_NOPULL;
  HAL_GPIO_Init(BOOT1_GPIO_Port, &GPIO_InitStruct);

  /*Configure GPIO pins : A10_Pin A11_Pin BA0_Pin BA1_Pin
                           SDCLK_Pin SDNCAS_Pin */
  GPIO_InitStruct.Pin = A10_Pin|A11_Pin|BA0_Pin|BA1_Pin
                          |SDCLK_Pin|SDNCAS_Pin;
  GPIO_InitStruct.Mode = GPIO_MODE_AF_PP;
  GPIO_InitStruct.Pull = GPIO_NOPULL;
  GPIO_InitStruct.Speed = GPIO_SPEED_FREQ_VERY_HIGH;
  GPIO_InitStruct.Alternate = GPIO_AF12_FMC;
  HAL_GPIO_Init(GPIOG, &GPIO_InitStruct);

  /*Configure GPIO pins : D4_Pin D6_Pin D7_Pin D8_Pin
                           D9_Pin D10_Pin D11_Pin D12_Pin
                           NBL0_Pin NBL1_Pin */
  GPIO_InitStruct.Pin = D4_Pin|D6_Pin|D7_Pin|D8_Pin
                          |D9_Pin|D10_Pin|D11_Pin|D12_Pin
                          |NBL0_Pin|NBL1_Pin;
  GPIO_InitStruct.Mode = GPIO_MODE_AF_PP;
  GPIO_InitStruct.Pull = GPIO_NOPULL;
  GPIO_InitStruct.Speed = GPIO_SPEED_FREQ_VERY_HIGH;
  GPIO_InitStruct.Alternate = GPIO_AF12_FMC;
  HAL_GPIO_Init(GPIOE, &GPIO_InitStruct);

  /*Configure GPIO pins : G4_Pin G5_Pin B6_Pin B7_Pin */
  GPIO_InitStruct.Pin = G4_Pin|G5_Pin|B6_Pin|B7_Pin;
  GPIO_InitStruct.Mode = GPIO_MODE_AF_PP;
  GPIO_InitStruct.Pull = GPIO_NOPULL;
  GPIO_InitStruct.Speed = GPIO_SPEED_FREQ_LOW;
  GPIO_InitStruct.Alternate = GPIO_AF14_LTDC;
  HAL_GPIO_Init(GPIOB, &GPIO_InitStruct);

  /*Configure GPIO pins : OTG_HS_ID_Pin OTG_HS_DM_Pin OTG_HS_DP_Pin */
  GPIO_InitStruct.Pin = OTG_HS_ID_Pin|OTG_HS_DM_Pin|OTG_HS_DP_Pin;
  GPIO_InitStruct.Mode = GPIO_MODE_AF_PP;
  GPIO_InitStruct.Pull = GPIO_NOPULL;
  GPIO_InitStruct.Speed = GPIO_SPEED_FREQ_LOW;
  GPIO_InitStruct.Alternate = GPIO_AF12_OTG_HS_FS;
  HAL_GPIO_Init(GPIOB, &GPIO_InitStruct);

  /*Configure GPIO pins : D13_Pin D14_Pin D15_Pin D0_Pin
                           D1_Pin D2_Pin D3_Pin */
  GPIO_InitStruct.Pin = D13_Pin|D14_Pin|D15_Pin|D0_Pin
                          |D1_Pin|D2_Pin|D3_Pin;
  GPIO_InitStruct.Mode = GPIO_MODE_AF_PP;
  GPIO_InitStruct.Pull = GPIO_NOPULL;
  GPIO_InitStruct.Speed = GPIO_SPEED_FREQ_VERY_HIGH;
  GPIO_InitStruct.Alternate = GPIO_AF12_FMC;
  HAL_GPIO_Init(GPIOD, &GPIO_InitStruct);

  /*Configure GPIO pin : TE_Pin */
  GPIO_InitStruct.Pin = TE_Pin;
  GPIO_InitStruct.Mode = GPIO_MODE_INPUT;
  GPIO_InitStruct.Pull = GPIO_NOPULL;
  HAL_GPIO_Init(TE_GPIO_Port, &GPIO_InitStruct);

  /*Configure GPIO pins : RDX_Pin WRX_DCX_Pin */
  GPIO_InitStruct.Pin = RDX_Pin|WRX_DCX_Pin;
  GPIO_InitStruct.Mode = GPIO_MODE_OUTPUT_PP;
  GPIO_InitStruct.Pull = GPIO_NOPULL;
  GPIO_InitStruct.Speed = GPIO_SPEED_FREQ_LOW;
  HAL_GPIO_Init(GPIOD, &GPIO_InitStruct);

  /*Configure GPIO pins : R7_Pin DOTCLK_Pin B3_Pin */
  GPIO_InitStruct.Pin = R7_Pin|DOTCLK_Pin|B3_Pin;
  GPIO_InitStruct.Mode = GPIO_MODE_AF_PP;
  GPIO_InitStruct.Pull = GPIO_NOPULL;
  GPIO_InitStruct.Speed = GPIO_SPEED_FREQ_LOW;
  GPIO_InitStruct.Alternate = GPIO_AF14_LTDC;
  HAL_GPIO_Init(GPIOG, &GPIO_InitStruct);

  /*Configure GPIO pins : STLINK_RX_Pin STLINK_TX_Pin */
  GPIO_InitStruct.Pin = STLINK_RX_Pin|STLINK_TX_Pin;
  GPIO_InitStruct.Mode = GPIO_MODE_AF_PP;
  GPIO_InitStruct.Pull = GPIO_NOPULL;
  GPIO_InitStruct.Speed = GPIO_SPEED_FREQ_VERY_HIGH;
  GPIO_InitStruct.Alternate = GPIO_AF7_USART1;
  HAL_GPIO_Init(GPIOA, &GPIO_InitStruct);

  /*Configure GPIO pin : R2_Pin */
  GPIO_InitStruct.Pin = R2_Pin;
  GPIO_InitStruct.Mode = GPIO_MODE_AF_PP;
  GPIO_InitStruct.Pull = GPIO_NOPULL;
  GPIO_InitStruct.Speed = GPIO_SPEED_FREQ_LOW;
  GPIO_InitStruct.Alternate = GPIO_AF14_LTDC;
  HAL_GPIO_Init(R2_GPIO_Port, &GPIO_InitStruct);

  /*Configure GPIO pins : G7_Pin B2_Pin */
  GPIO_InitStruct.Pin = G7_Pin|B2_Pin;
  GPIO_InitStruct.Mode = GPIO_MODE_AF_PP;
  GPIO_InitStruct.Pull = GPIO_NOPULL;
  GPIO_InitStruct.Speed = GPIO_SPEED_FREQ_LOW;
  GPIO_InitStruct.Alternate = GPIO_AF14_LTDC;
  HAL_GPIO_Init(GPIOD, &GPIO_InitStruct);

  /*Configure GPIO pins : G3_Pin B4_Pin */
  GPIO_InitStruct.Pin = G3_Pin|B4_Pin;
  GPIO_InitStruct.Mode = GPIO_MODE_AF_PP;
  GPIO_InitStruct.Pull = GPIO_NOPULL;
  GPIO_InitStruct.Speed = GPIO_SPEED_FREQ_LOW;
  GPIO_InitStruct.Alternate = GPIO_AF9_LTDC;
  HAL_GPIO_Init(GPIOG, &GPIO_InitStruct);

  /*Configure GPIO pins : LD3_Pin LD4_Pin */
  GPIO_InitStruct.Pin = LD3_Pin|LD4_Pin;
  GPIO_InitStruct.Mode = GPIO_MODE_OUTPUT_PP;
  GPIO_InitStruct.Pull = GPIO_NOPULL;
  GPIO_InitStruct.Speed = GPIO_SPEED_FREQ_LOW;
  HAL_GPIO_Init(GPIOG, &GPIO_InitStruct);

  /*Configure GPIO pins : SDCKE1_Pin SDNE1_Pin */
  GPIO_InitStruct.Pin = SDCKE1_Pin|SDNE1_Pin;
  GPIO_InitStruct.Mode = GPIO_MODE_AF_PP;
  GPIO_InitStruct.Pull = GPIO_NOPULL;
  GPIO_InitStruct.Speed = GPIO_SPEED_FREQ_VERY_HIGH;
  GPIO_InitStruct.Alternate = GPIO_AF12_FMC;
  HAL_GPIO_Init(GPIOB, &GPIO_InitStruct);

}

/* USER CODE BEGIN 4 */
void HAL_TIM_PeriodElapsedCallback(TIM_HandleTypeDef *htim)
{
  if (htim->Instance == TIM2)
  {
	//outputs_obj.Read_Bemf(bemf_buf);
	raw = pot_pos_buf[0];
	duty = 100*raw/4095;
	//outputs_obj.Trigger_outputs(bemf_buf);
	outputs_obj.Motor_Control_Routine();

  }
}

void HAL_ADC_ConvCpltCallback(ADC_HandleTypeDef* hadc)
{

}
/* USER CODE END 4 */

void Error_Handler(void)
{
}

/************************ (C) COPYRIGHT STMicroelectronics *****END OF FILE****/
